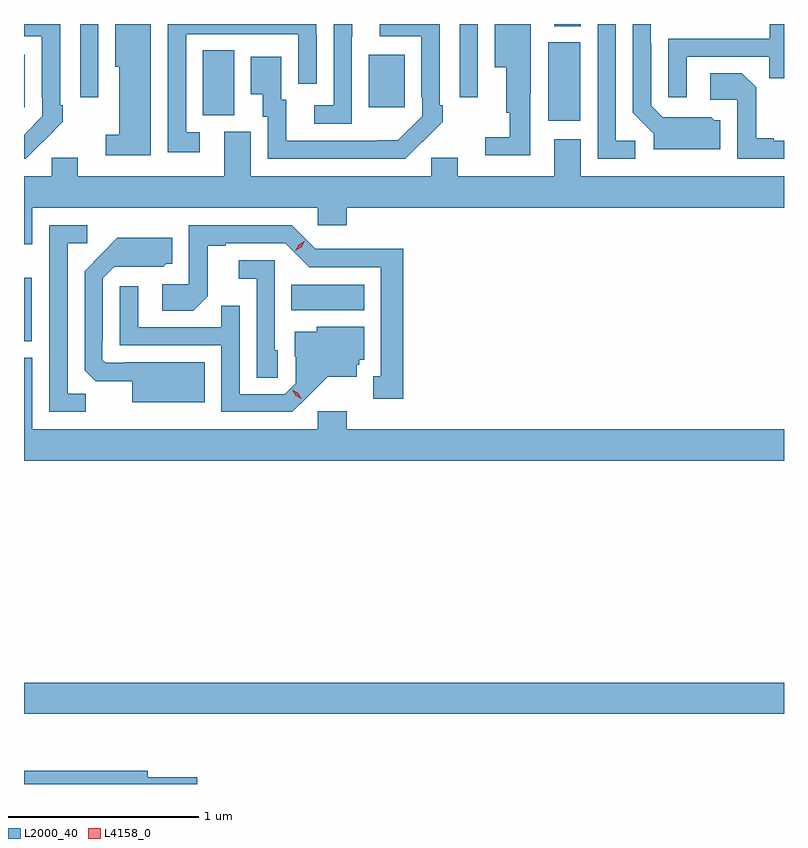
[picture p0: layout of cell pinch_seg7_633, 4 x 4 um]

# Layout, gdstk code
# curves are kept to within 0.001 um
import gdstk
lib = gdstk.Library(unit=1e-6, precision=1e-09)
def R(c, l, rs):  # rectangles x0, y0, x1, y1
    for r in rs: c.add(gdstk.rectangle(r[:2], r[2:], *l))
def P(c, l, *ps):  # polygons
    for p in ps: c.add(gdstk.Polygon(p, *l))
L2000_40 = (2000, 40)
L4158_0 = (4158, 0)

pinch_seg7_633 = lib.new_cell('pinch_seg7_633')
R(pinch_seg7_633, L2000_40, [(132.632,1005.944,136.632,1006.108), (132.632,1007.903,132.673,1008.238), (134.038,1008.068,134.422,1008.202), (135.392,1009.065,135.559,1009.477), (133.574,1009.093,133.738,1009.436), (132.632,1009.137,132.637,1009.411), (134.447,1009.137,134.635,1009.411), (132.927,1009.188,133.023,1009.574), (134.925,1009.188,135.021,1009.574), (135.422,1009.562,135.562,1009.574)])
P(pinch_seg7_633, L2000_40, [(136.297,1009.068),(136.266,1009.068),(136.25,1009.084),(135.993,1009.083),(135.933,1009.143),(135.933,1009.472),(135.93,1009.472),(135.93,1009.572),(135.932,1009.574),(135.837,1009.574),(135.837,1009.106),(135.947,1008.996),(135.947,1008.914),(136.297,1008.914)],
  [(133.3,1009.574),(133.112,1009.574),(133.112,1009.35),(133.133,1009.35),(133.133,1008.991),(133.062,1008.991),(133.062,1008.882),(133.3,1008.882)],
  [(135.85,1008.96),(135.747,1008.96),(135.747,1009.574),(135.651,1009.574),(135.651,1008.864),(135.85,1008.864)],
  [(134.729,1008.955),(134.73,1008.954),(134.835,1009.059),(134.835,1009.147),(134.82,1009.147),(134.82,1009.574),(134.505,1009.574),(134.505,1009.509),(134.724,1009.509),(134.724,1009.189),(134.727,1009.189),(134.727,1009.089),(134.599,1008.961),(134.011,1008.96),(134.011,1009.176),(133.987,1009.176),(133.987,1009.402),(133.826,1009.402),(133.826,1009.205),(133.889,1009.205),(133.889,1009.086),(133.914,1009.086),(133.914,1008.864),(134.638,1008.864)],
  [(136.119,1009.401),(136.555,1009.401),(136.555,1009.288),(136.632,1009.288),(136.632,1009.574),(136.557,1009.574),(136.557,1009.497),(136.023,1009.497),(136.023,1009.188),(136.119,1009.188)],
  [(134.358,1009.507),(134.359,1009.507),(134.359,1009.574),(134.262,1009.574),(134.262,1009.146),(134.16,1009.146),(134.16,1009.05),(134.358,1009.05)],
  [(133.558,1009.005),(133.485,1009.005),(133.485,1009.521),(134.076,1009.521),(134.076,1009.26),(134.172,1009.26),(134.172,1009.514),(134.171,1009.514),(134.171,1009.574),(133.389,1009.574),(133.389,1008.9),(133.558,1008.9)],
  [(132.731,1008.955),(132.732,1008.954),(132.837,1009.059),(132.837,1009.147),(132.822,1009.147),(132.822,1009.574),(132.632,1009.574),(132.632,1009.509),(132.726,1009.509),(132.726,1009.189),(132.729,1009.189),(132.729,1009.089),(132.632,1008.992),(132.632,1008.864),(132.64,1008.864)],
  [(135.297,1009.21),(135.298,1009.21),(135.298,1009.574),(135.11,1009.574),(135.11,1009.346),(135.17,1009.346),(135.17,1009.106),(135.189,1009.106),(135.189,1008.978),(135.06,1008.978),(135.06,1008.882),(135.297,1008.882)],
  [(136.632,1008.96),(136.579,1008.96),(136.579,1008.973),(136.485,1008.973),(136.485,1009.24),(136.409,1009.316),(136.245,1009.316),(136.245,1009.176),(136.386,1009.176),(136.386,1008.864),(136.632,1008.864)],
  [(132.632,1008.416),(132.676,1008.416),(132.676,1008.608),(134.178,1008.608),(134.178,1008.515),(134.33,1008.515),(134.33,1008.608),(136.632,1008.608),(136.632,1008.772),(135.562,1008.772),(135.562,1008.967),(135.422,1008.967),(135.422,1008.772),(134.914,1008.772),(134.914,1008.87),(134.775,1008.87),(134.775,1008.772),(133.825,1008.772),(133.825,1009.008),(133.685,1009.008),(133.685,1008.772),(132.916,1008.772),(132.916,1008.87),(132.777,1008.87),(132.777,1008.772),(132.632,1008.772)],
  [(132.957,1007.627),(132.861,1007.627),(132.861,1008.42),(132.964,1008.42),(132.964,1008.516),(132.765,1008.516),(132.765,1007.532),(132.957,1007.532)],
  [(134.629,1008.392),(134.388,1008.392),(134.388,1008.39),(134.166,1008.39),(134.04,1008.516),(133.5,1008.516),(133.5,1008.204),(133.359,1008.204),(133.359,1008.064),(133.523,1008.064),(133.599,1008.14),(133.599,1008.408),(133.693,1008.408),(133.693,1008.42),(134.007,1008.42),(134.133,1008.294),(134.51,1008.294),(134.51,1007.721),(134.471,1007.721),(134.471,1007.601),(134.629,1007.601)],
  [(133.582,1007.794),(133.162,1007.794),(133.162,1007.79),(133.062,1007.79),(133.044,1007.808),(133.044,1007.908),(133.047,1007.908),(133.047,1008.237),(133.107,1008.297),(133.364,1008.296),(133.38,1008.312),(133.411,1008.312),(133.411,1008.448),(133.123,1008.448),(132.951,1008.274),(132.951,1007.752),(133.01,1007.693),(133.202,1007.693),(133.202,1007.582),(133.582,1007.582)],
  [(133.968,1007.856),(133.953,1007.856),(133.953,1008.33),(133.761,1008.33),(133.761,1008.233),(133.857,1008.233),(133.857,1007.713),(133.968,1007.713)],
  [(134.128,1007.615),(134.231,1007.717),(134.383,1007.717),(134.383,1007.781),(134.397,1007.781),(134.397,1007.808),(134.422,1007.808),(134.422,1007.98),(134.172,1007.98),(134.172,1007.953),(134.057,1007.953),(134.057,1007.824),(134.061,1007.824),(134.061,1007.682),(134.004,1007.625),(133.767,1007.625),(133.767,1008.092),(133.669,1008.092),(133.669,1007.979),(133.233,1007.979),(133.233,1008.193),(133.137,1008.193),(133.137,1007.883),(133.671,1007.883),(133.671,1007.532),(134.044,1007.532)],
  [(136.632,1007.44),(134.33,1007.44),(134.33,1007.536),(134.178,1007.536),(134.178,1007.44),(132.676,1007.44),(132.676,1007.818),(132.632,1007.818),(132.632,1007.276),(136.632,1007.276)],
  [(133.543,1005.609),(133.282,1005.609),(133.282,1005.643),(132.632,1005.643),(132.632,1005.574),(133.543,1005.574)])
P(pinch_seg7_633, L4158_0, [(134.06,1008.38),(134.06,1008.38),(134.078,1008.413),(134.109,1008.432),(134.109,1008.432),(134.109,1008.432),(134.092,1008.399),(134.06,1008.38)],
  [(134.091,1007.602),(134.061,1007.618),(134.044,1007.648),(134.044,1007.648),(134.044,1007.648),(134.074,1007.633),(134.091,1007.603),(134.091,1007.602)])

lib.write_gds('pinch_seg7_633.gds')
